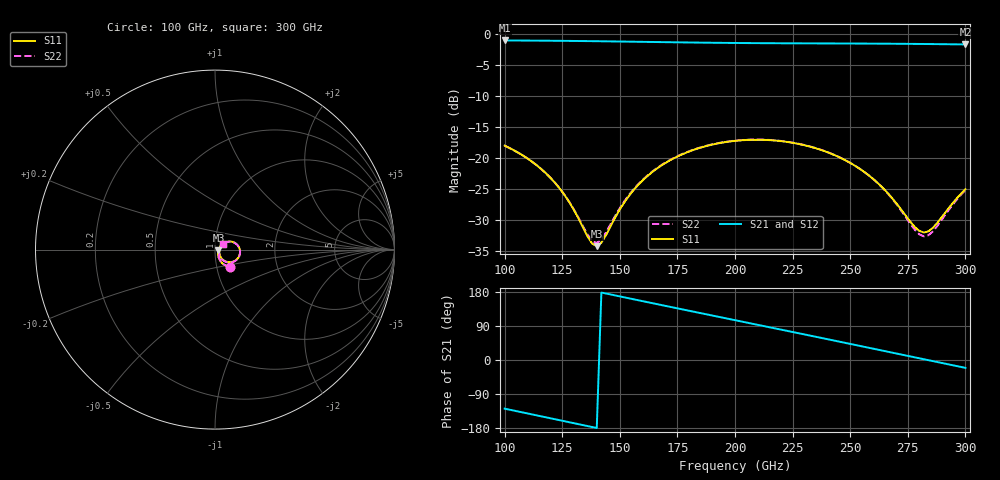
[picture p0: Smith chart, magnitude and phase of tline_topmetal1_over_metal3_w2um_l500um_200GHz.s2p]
#  GHZ S DB R 50
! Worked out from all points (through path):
!   101 points, 100 GHz to 300 GHz, reference 50 ohm
!   highest |S21| = -1.05 dB at 100 GHz (marker M1); lowest = -1.7 dB at 300 GHz (marker M2)
!   group delay of S21, straight-line fit = 3.5 ps
!   lowest |S11| = -34.2 dB at 140 GHz (marker M3), VSWR 1.04, Z = 51.9 - j0.437 ohm
!   |S11| at or under -10 dB: start of sweep to end of sweep
!   |S22| runs from -33.7 to -17.0 dB; largest |S21 - S12| = 9.9e-14
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100  -18.01 -49.8  -1.05 -128.4  -1.05 -128.4  -18.02 -49.6
110  -20.09 -58.6  -1.07 -141.1  -1.07 -141.1  -20.10 -58.2
120  -23.23 -64.9  -1.10 -153.9  -1.10 -153.9  -23.23 -64.2
128  -27.07 -64.4  -1.13 -164.1  -1.13 -164.1  -27.03 -63.1
134  -31.18 -52.5  -1.15 -171.8  -1.15 -171.8  -30.99 -50.6
138  -33.80 -29.3  -1.17 -176.9  -1.17 -176.9  -33.37 -27.7
140  -34.21 -12.5  -1.18 -179.4  -1.18 -179.4  -33.68 -11.8
142  -33.65 3.9  -1.19 178.0  -1.19 178.0  -33.14 3.4
150  -28.29 34.0  -1.23 167.8  -1.23 167.8  -28.08 32.5
156  -25.16 37.0  -1.26 160.2  -1.26 160.2  -25.03 35.6
168  -21.22 31.1  -1.32 145.1  -1.32 145.1  -21.15 30.1
184  -18.45 17.0  -1.40 125.0  -1.40 125.0  -18.40 16.1
200  -17.24 1.0  -1.46 105.1  -1.46 105.1  -17.20 0.1
216  -17.14 -15.3  -1.50 85.1  -1.50 85.1  -17.11 -16.3
234  -18.31 -33.2  -1.53 62.6  -1.53 62.6  -18.29 -34.3
254  -21.70 -49.6  -1.55 37.4  -1.55 37.4  -21.70 -51.2
262  -24.04 -52.8  -1.57 27.3  -1.57 27.3  -24.07 -54.8
268  -26.37 -51.7  -1.58 19.7  -1.58 19.7  -26.45 -54.1
278  -31.10 -30.2  -1.61 7.1  -1.61 7.1  -31.54 -33.1
282  -32.01 -10.0  -1.63 2.0  -1.63 2.0  -32.63 -11.4
286  -31.21 10.5  -1.64 -3.1  -1.64 -3.1  -31.78 11.0
300  -25.03 34.0  -1.70 -20.7  -1.70 -20.7  -25.18 35.1
